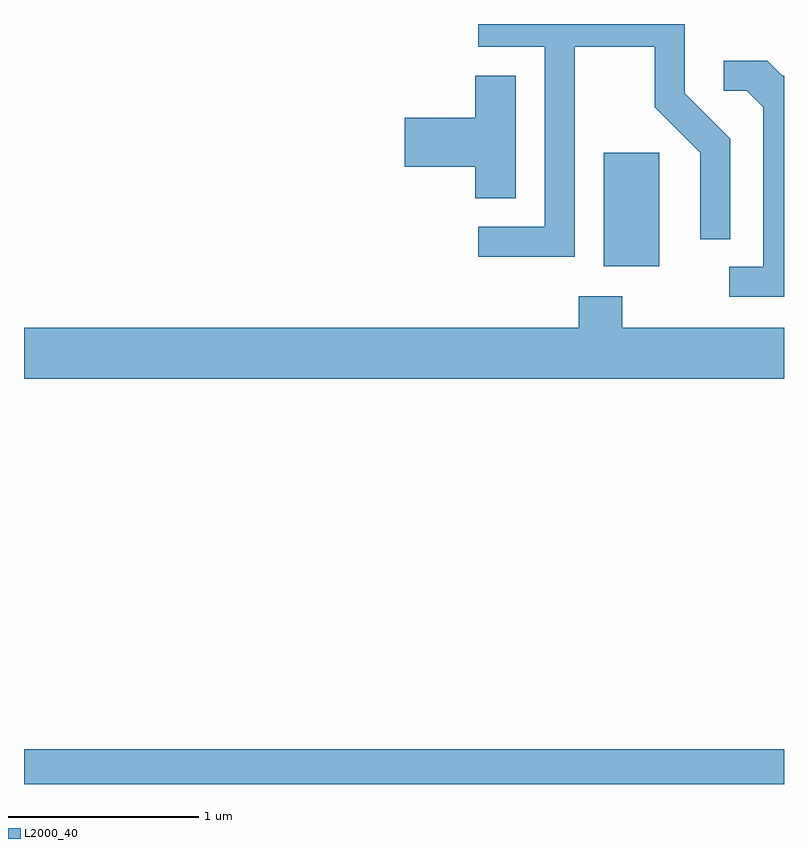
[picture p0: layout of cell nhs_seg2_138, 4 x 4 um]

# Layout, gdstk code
import gdstk
lib = gdstk.Library(unit=1e-6, precision=1e-09)
def R(c, l, rs):  # rectangles x0, y0, x1, y1
    for r in rs: c.add(gdstk.rectangle(r[:2], r[2:], *l))
def P(c, l, *ps):  # polygons
    for p in ps: c.add(gdstk.Polygon(p, *l))
L2000_40 = (2000, 40)

nhs_seg2_138 = lib.new_cell('nhs_seg2_138')
R(nhs_seg2_138, L2000_40, [(189.611,981.802,193.611,981.984), (192.661,984.526,192.954,985.124)])
P(nhs_seg2_138, L2000_40, [(192.509,985.681),(192.931,985.681),(192.931,985.364),(193.171,985.124),(193.171,984.668),(193.329,984.668),(193.329,985.197),(193.089,985.437),(193.089,985.802),(192.003,985.802),(192.003,985.681),(192.351,985.681),(192.351,984.734),(192.003,984.734),(192.003,984.576),(192.509,984.576)],
  [(193.611,985.529),(193.602,985.529),(193.522,985.609),(193.293,985.609),(193.293,985.451),(193.414,985.451),(193.501,985.364),(193.501,984.524),(193.323,984.524),(193.323,984.366),(193.611,984.366)],
  [(192.199,985.529),(191.986,985.529),(191.986,985.309),(191.616,985.309),(191.616,985.051),(191.986,985.051),(191.986,984.886),(192.199,984.886)],
  [(193.611,984.204),(192.759,984.204),(192.759,984.369),(192.531,984.369),(192.531,984.204),(189.611,984.204),(189.611,983.936),(193.611,983.936)])

lib.write_gds('nhs_seg2_138.gds')
